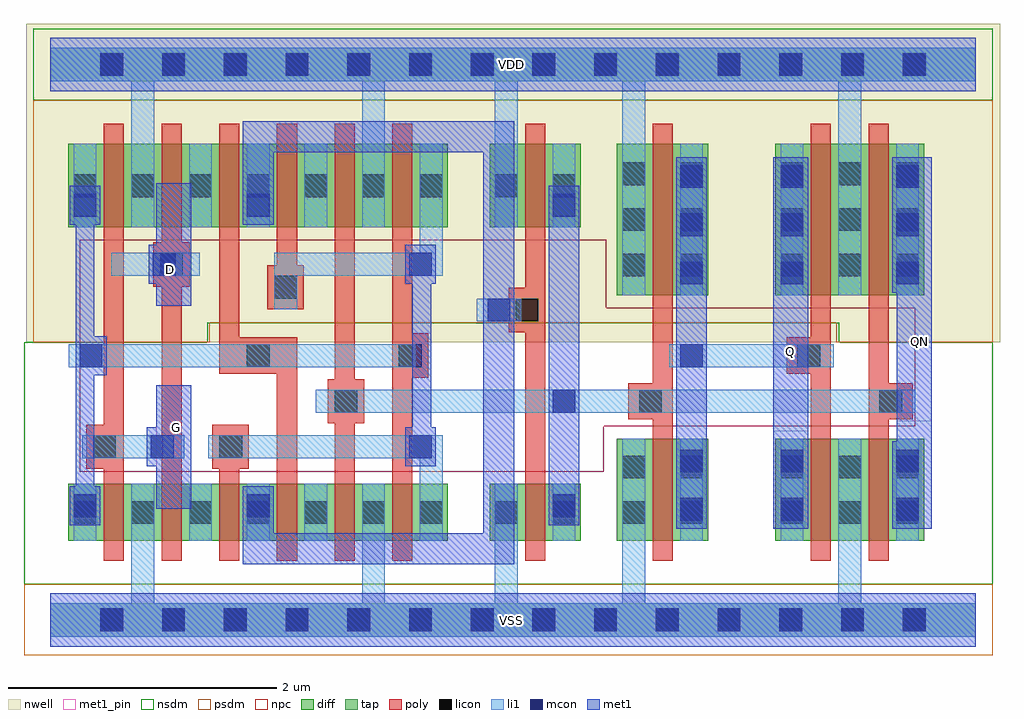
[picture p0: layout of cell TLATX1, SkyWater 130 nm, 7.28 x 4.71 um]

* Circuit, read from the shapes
.subckt TLATX1 D G Q QN VDD VSS
XM1 VSS G n1 VSS sky130_fd_pr__nfet_01v8 w=0.425 l=0.15
XM2 n2 D VSS VSS sky130_fd_pr__nfet_01v8 w=0.425 l=0.15
XM3 n3 n4 n2 VSS sky130_fd_pr__nfet_01v8 w=0.425 l=0.15
XM4 n5 n1 n3 VSS sky130_fd_pr__nfet_01v8 w=0.425 l=0.15
XM5 VSS n6 n5 VSS sky130_fd_pr__nfet_01v8 w=0.425 l=0.15
XM6 n4 n1 VSS VSS sky130_fd_pr__nfet_01v8 w=0.425 l=0.15
XM7 n6 n3 VSS VSS sky130_fd_pr__nfet_01v8 w=0.425 l=0.15
XM8 n7 n6 VSS VSS sky130_fd_pr__nfet_01v8 w=0.76 l=0.15
XM9 VSS n7 Q VSS sky130_fd_pr__nfet_01v8 w=0.76 l=0.15
XM10 QN n6 VSS VSS sky130_fd_pr__nfet_01v8 w=0.76 l=0.15
XM11 VDD G n1 VDD sky130_fd_pr__pfet_01v8 w=0.625 l=0.15
XM12 n8 D VDD VDD sky130_fd_pr__pfet_01v8 w=0.625 l=0.15
XM13 n3 n1 n8 VDD sky130_fd_pr__pfet_01v8 w=0.625 l=0.15
XM14 n9 n4 n3 VDD sky130_fd_pr__pfet_01v8 w=0.625 l=0.15
XM15 VDD n6 n9 VDD sky130_fd_pr__pfet_01v8 w=0.625 l=0.15
XM16 n4 n1 VDD VDD sky130_fd_pr__pfet_01v8 w=0.625 l=0.15
XM17 n6 n3 VDD VDD sky130_fd_pr__pfet_01v8 w=0.625 l=0.15
XM18 n7 n6 VDD VDD sky130_fd_pr__pfet_01v8 w=1.13 l=0.15
XM19 VDD n7 Q VDD sky130_fd_pr__pfet_01v8 w=1.13 l=0.15
XM20 QN n6 VDD VDD sky130_fd_pr__pfet_01v8 w=1.13 l=0.15
.ends

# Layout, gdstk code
from math import pi, radians
import gdstk
lib = gdstk.Library(unit=1e-6, precision=1e-09)
def R(c, l, rs):  # rectangles x0, y0, x1, y1
    for r in rs: c.add(gdstk.rectangle(r[:2], r[2:], *l))
def A(c, l, x, y, w, h, nx, ny, dx, dy):  # array of equal rectangles
    R(c, l, [(x+i*dx, y+j*dy, x+i*dx+w, y+j*dy+h) for i in range(nx) for j in range(ny)])
def P(c, l, *ps):  # polygons
    for p in ps: c.add(gdstk.Polygon(p, *l))
nwell = (64, 20)
diff = (65, 20)
tap = (65, 44)
poly = (66, 20)
licon = (66, 44)
li1 = (67, 20)
mcon = (67, 44)
met1_pin = (68, 16)
met1 = (68, 20)
nsdm = (93, 44)
psdm = (94, 20)
npc = (95, 20)

nfet_01v8_cdns_715785618 = lib.new_cell('nfet_01v8_CDNS_715785618200')
R(nfet_01v8_cdns_715785618, diff, [(-0.265,0,0,0.76), (0,0,0.15,0.76), (0.15,0,0.415,0.76)])
R(nfet_01v8_cdns_715785618, poly, [(0,-0.15,0.15,-0.095), (0,-0.095,0.15,0), (0,0,0.15,0.76), (0,0.76,0.15,0.855), (0,0.855,0.15,0.91)])
R(nfet_01v8_cdns_715785618, licon, [(-0.225,0.125,-0.055,0.295), (0.205,0.125,0.375,0.295), (-0.225,0.465,-0.055,0.635), (0.205,0.465,0.375,0.635)])
R(nfet_01v8_cdns_715785618, li1, [(-0.225,0,-0.055,0.76), (0.205,0,0.375,0.76)])
R(nfet_01v8_cdns_715785618, nsdm, [(-0.405,-0.13,0.555,0.89)])

c_nfet_01v8_cdns_715785618 = lib.new_cell('nfet_01v8_CDNS_715785618201')
R(c_nfet_01v8_cdns_715785618, diff, [(-0.265,0,0,0.425), (0,0,0.15,0.425), (0.15,0,0.415,0.425)])
R(c_nfet_01v8_cdns_715785618, poly, [(0,-0.15,0.15,-0.095), (0,-0.095,0.15,0), (0,0,0.15,0.425), (0,0.425,0.15,0.52), (0,0.52,0.15,0.575)])
R(c_nfet_01v8_cdns_715785618, licon, [(-0.225,0.125,-0.055,0.295), (0.205,0.125,0.375,0.295)])
R(c_nfet_01v8_cdns_715785618, li1, [(-0.225,0,-0.055,0.425), (0.205,0,0.375,0.425)])
R(c_nfet_01v8_cdns_715785618, nsdm, [(-0.405,-0.13,0.555,0.555)])

pfet_01v8_cdns_715785618 = lib.new_cell('pfet_01v8_CDNS_715785618202')
R(pfet_01v8_cdns_715785618, nwell, [(-0.445,-0.18,0.595,1.31)])
R(pfet_01v8_cdns_715785618, diff, [(-0.265,0,0,1.13), (0,0,0.15,1.13), (0.15,0,0.415,1.13)])
R(pfet_01v8_cdns_715785618, poly, [(0,-0.15,0.15,-0.095), (0,-0.095,0.15,0), (0,0,0.15,1.13), (0,1.13,0.15,1.225), (0,1.225,0.15,1.28)])
A(pfet_01v8_cdns_715785618, licon, -0.225, 0.14, 0.17, 0.17, 1, 3, 0, 0.34)
A(pfet_01v8_cdns_715785618, licon, 0.205, 0.14, 0.17, 0.17, 1, 3, 0, 0.34)
R(pfet_01v8_cdns_715785618, li1, [(-0.225,0,-0.055,1.13), (0.205,0,0.375,1.13)])
R(pfet_01v8_cdns_715785618, psdm, [(-0.405,-0.13,0.555,1.26)])

c_nfet_01v8_cdns_715785618_ = lib.new_cell('nfet_01v8_CDNS_715785618203')
R(c_nfet_01v8_cdns_715785618_, diff, [(-0.055,0,0,0.76), (0,0,0.15,0.76), (0.15,0,0.415,0.76)])
R(c_nfet_01v8_cdns_715785618_, poly, [(0,-0.15,0.15,-0.095), (0,-0.095,0.15,0), (0,0,0.15,0.76), (0,0.76,0.15,0.855), (0,0.855,0.15,0.91)])
R(c_nfet_01v8_cdns_715785618_, licon, [(0.205,0.125,0.375,0.295), (0.205,0.465,0.375,0.635)])
R(c_nfet_01v8_cdns_715785618_, li1, [(0.205,0,0.375,0.76)])
R(c_nfet_01v8_cdns_715785618_, nsdm, [(-0.065,-0.13,0.555,0.89)])

c_pfet_01v8_cdns_715785618 = lib.new_cell('pfet_01v8_CDNS_715785618204')
R(c_pfet_01v8_cdns_715785618, nwell, [(-0.235,-0.18,0.595,1.31)])
R(c_pfet_01v8_cdns_715785618, diff, [(-0.055,0,0,1.13), (0,0,0.15,1.13), (0.15,0,0.415,1.13)])
R(c_pfet_01v8_cdns_715785618, poly, [(0,-0.15,0.15,-0.095), (0,-0.095,0.15,0), (0,0,0.15,1.13), (0,1.13,0.15,1.225), (0,1.225,0.15,1.28)])
A(c_pfet_01v8_cdns_715785618, licon, 0.205, 0.14, 0.17, 0.17, 1, 3, 0, 0.34)
R(c_pfet_01v8_cdns_715785618, li1, [(0.205,0,0.375,1.13)])
R(c_pfet_01v8_cdns_715785618, psdm, [(-0.065,-0.13,0.555,1.26)])

c_nfet_01v8_cdns_715785618__ = lib.new_cell('nfet_01v8_CDNS_715785618205')
R(c_nfet_01v8_cdns_715785618__, diff, [(-0.265,0,0,0.425), (0,0,0.15,0.425), (0.15,0,0.375,0.425)])
R(c_nfet_01v8_cdns_715785618__, poly, [(0,-0.15,0.15,-0.095), (0,-0.095,0.15,0), (0,0,0.15,0.425), (0,0.425,0.15,0.52), (0,0.52,0.15,0.575)])
R(c_nfet_01v8_cdns_715785618__, licon, [(-0.225,0.125,-0.055,0.295), (0.205,0.125,0.375,0.295)])
R(c_nfet_01v8_cdns_715785618__, li1, [(-0.225,0,-0.055,0.425), (0.205,0,0.375,0.425)])
R(c_nfet_01v8_cdns_715785618__, nsdm, [(-0.405,-0.13,0.385,0.555)])

c_nfet_01v8_cdns_715785618___ = lib.new_cell('nfet_01v8_CDNS_715785618206')
R(c_nfet_01v8_cdns_715785618___, diff, [(-0.225,0,0,0.425), (0,0,0.15,0.425), (0.15,0,0.415,0.425)])
R(c_nfet_01v8_cdns_715785618___, poly, [(0,-0.15,0.15,-0.095), (0,-0.095,0.15,0), (0,0,0.15,0.425), (0,0.425,0.15,0.52), (0,0.52,0.15,0.575)])
R(c_nfet_01v8_cdns_715785618___, licon, [(-0.225,0.125,-0.055,0.295), (0.205,0.125,0.375,0.295)])
R(c_nfet_01v8_cdns_715785618___, li1, [(-0.225,0,-0.055,0.425), (0.205,0,0.375,0.425)])
R(c_nfet_01v8_cdns_715785618___, nsdm, [(-0.235,-0.13,0.555,0.555)])

c_nfet_01v8_cdns_715785618____ = lib.new_cell('nfet_01v8_CDNS_715785618207')
R(c_nfet_01v8_cdns_715785618____, diff, [(-0.225,0,0,0.76), (0,0,0.15,0.76), (0.15,0,0.415,0.76)])
R(c_nfet_01v8_cdns_715785618____, poly, [(0,-0.15,0.15,-0.095), (0,-0.095,0.15,0), (0,0,0.15,0.76), (0,0.76,0.15,0.855), (0,0.855,0.15,0.91)])
R(c_nfet_01v8_cdns_715785618____, licon, [(-0.225,0.125,-0.055,0.295), (0.205,0.125,0.375,0.295), (-0.225,0.465,-0.055,0.635), (0.205,0.465,0.375,0.635)])
R(c_nfet_01v8_cdns_715785618____, li1, [(-0.225,0,-0.055,0.76), (0.205,0,0.375,0.76)])
R(c_nfet_01v8_cdns_715785618____, nsdm, [(-0.235,-0.13,0.555,0.89)])

c_nfet_01v8_cdns_715785618_____ = lib.new_cell('nfet_01v8_CDNS_715785618208')
R(c_nfet_01v8_cdns_715785618_____, diff, [(-0.055,0,0,0.425), (0,0,0.15,0.425), (0.15,0,0.415,0.425)])
R(c_nfet_01v8_cdns_715785618_____, poly, [(0,-0.15,0.15,-0.095), (0,-0.095,0.15,0), (0,0,0.15,0.425), (0,0.425,0.15,0.52), (0,0.52,0.15,0.575)])
R(c_nfet_01v8_cdns_715785618_____, licon, [(0.205,0.125,0.375,0.295)])
R(c_nfet_01v8_cdns_715785618_____, li1, [(0.205,0,0.375,0.425)])
R(c_nfet_01v8_cdns_715785618_____, nsdm, [(-0.065,-0.13,0.555,0.555)])

c_pfet_01v8_cdns_715785618_ = lib.new_cell('pfet_01v8_CDNS_715785618209')
R(c_pfet_01v8_cdns_715785618_, nwell, [(-0.445,-0.18,0.385,0.805)])
R(c_pfet_01v8_cdns_715785618_, diff, [(-0.265,0,0,0.625), (0,0,0.15,0.625), (0.15,0,0.205,0.625)])
R(c_pfet_01v8_cdns_715785618_, poly, [(0,-0.15,0.15,-0.095), (0,-0.095,0.15,0), (0,0,0.15,0.625), (0,0.625,0.15,0.72), (0,0.72,0.15,0.775)])
R(c_pfet_01v8_cdns_715785618_, licon, [(-0.225,0.225,-0.055,0.395)])
R(c_pfet_01v8_cdns_715785618_, li1, [(-0.225,0,-0.055,0.625)])
R(c_pfet_01v8_cdns_715785618_, psdm, [(-0.405,-0.13,0.215,0.755)])

c_pfet_01v8_cdns_715785618__ = lib.new_cell('pfet_01v8_CDNS_7157856182010')
R(c_pfet_01v8_cdns_715785618__, nwell, [(-0.445,-0.18,0.555,0.805)])
R(c_pfet_01v8_cdns_715785618__, diff, [(-0.265,0,0,0.625), (0,0,0.15,0.625), (0.15,0,0.375,0.625)])
R(c_pfet_01v8_cdns_715785618__, poly, [(0,-0.15,0.15,-0.095), (0,-0.095,0.15,0), (0,0,0.15,0.625), (0,0.625,0.15,0.72), (0,0.72,0.15,0.775)])
R(c_pfet_01v8_cdns_715785618__, licon, [(-0.225,0.225,-0.055,0.395), (0.205,0.225,0.375,0.395)])
R(c_pfet_01v8_cdns_715785618__, li1, [(-0.225,0,-0.055,0.625), (0.205,0,0.375,0.625)])
R(c_pfet_01v8_cdns_715785618__, psdm, [(-0.405,-0.13,0.385,0.755)])

c_nfet_01v8_cdns_715785618______ = lib.new_cell('nfet_01v8_CDNS_7157856182011')
R(c_nfet_01v8_cdns_715785618______, diff, [(-0.265,0,0,0.425), (0,0,0.15,0.425), (0.15,0,0.205,0.425)])
R(c_nfet_01v8_cdns_715785618______, poly, [(0,-0.15,0.15,-0.095), (0,-0.095,0.15,0), (0,0,0.15,0.425), (0,0.425,0.15,0.52), (0,0.52,0.15,0.575)])
R(c_nfet_01v8_cdns_715785618______, licon, [(-0.225,0.125,-0.055,0.295)])
R(c_nfet_01v8_cdns_715785618______, li1, [(-0.225,0,-0.055,0.425)])
R(c_nfet_01v8_cdns_715785618______, nsdm, [(-0.405,-0.13,0.215,0.555)])

c_pfet_01v8_cdns_715785618___ = lib.new_cell('pfet_01v8_CDNS_7157856182012')
R(c_pfet_01v8_cdns_715785618___, nwell, [(-0.405,-0.18,0.595,1.31)])
R(c_pfet_01v8_cdns_715785618___, diff, [(-0.225,0,0,1.13), (0,0,0.15,1.13), (0.15,0,0.415,1.13)])
R(c_pfet_01v8_cdns_715785618___, poly, [(0,-0.15,0.15,-0.095), (0,-0.095,0.15,0), (0,0,0.15,1.13), (0,1.13,0.15,1.225), (0,1.225,0.15,1.28)])
A(c_pfet_01v8_cdns_715785618___, licon, -0.225, 0.14, 0.17, 0.17, 1, 3, 0, 0.34)
A(c_pfet_01v8_cdns_715785618___, licon, 0.205, 0.14, 0.17, 0.17, 1, 3, 0, 0.34)
R(c_pfet_01v8_cdns_715785618___, li1, [(-0.225,0,-0.055,1.13), (0.205,0,0.375,1.13)])
R(c_pfet_01v8_cdns_715785618___, psdm, [(-0.235,-0.13,0.555,1.26)])

c_pfet_01v8_cdns_715785618____ = lib.new_cell('pfet_01v8_CDNS_7157856182013')
R(c_pfet_01v8_cdns_715785618____, nwell, [(-0.445,-0.18,0.595,0.805)])
R(c_pfet_01v8_cdns_715785618____, diff, [(-0.265,0,0,0.625), (0,0,0.15,0.625), (0.15,0,0.415,0.625)])
R(c_pfet_01v8_cdns_715785618____, poly, [(0,-0.15,0.15,-0.095), (0,-0.095,0.15,0), (0,0,0.15,0.625), (0,0.625,0.15,0.72), (0,0.72,0.15,0.775)])
R(c_pfet_01v8_cdns_715785618____, licon, [(-0.225,0.225,-0.055,0.395), (0.205,0.225,0.375,0.395)])
R(c_pfet_01v8_cdns_715785618____, li1, [(-0.225,0,-0.055,0.625), (0.205,0,0.375,0.625)])
R(c_pfet_01v8_cdns_715785618____, psdm, [(-0.405,-0.13,0.555,0.755)])

pyl1con_c_cdns_715785618 = lib.new_cell('PYL1CON_C_CDNS_715785618200')
R(pyl1con_c_cdns_715785618, poly, [(-0.135,-0.165,0.135,0.165)])
R(pyl1con_c_cdns_715785618, licon, [(-0.085,-0.085,0.085,0.085)])
R(pyl1con_c_cdns_715785618, npc, [(-0.185,-0.185,0.185,0.185)])

c_pyl1con_c_cdns_715785618 = lib.new_cell('PYL1CON_C_CDNS_715785618201')
R(c_pyl1con_c_cdns_715785618, poly, [(-0.135,-0.29,0.135,0.29)])
R(c_pyl1con_c_cdns_715785618, licon, [(-0.085,-0.085,0.085,0.085)])
R(c_pyl1con_c_cdns_715785618, npc, [(-0.185,-0.185,0.185,0.185)])

l1m1_c_cdns_715785618202 = lib.new_cell('L1M1_C_CDNS_715785618202')
R(l1m1_c_cdns_715785618202, li1, [(-0.085,-0.165,0.085,0.165)])
R(l1m1_c_cdns_715785618202, mcon, [(-0.085,-0.085,0.085,0.085)])
R(l1m1_c_cdns_715785618202, met1, [(-0.115,-0.145,0.115,0.145)])

l1m1_c_cdns_715785618203 = lib.new_cell('L1M1_C_CDNS_715785618203')
R(l1m1_c_cdns_715785618203, li1, [(-0.165,-0.085,0.165,0.085)])
R(l1m1_c_cdns_715785618203, mcon, [(-0.085,-0.085,0.085,0.085)])
R(l1m1_c_cdns_715785618203, met1, [(-0.115,-0.145,0.115,0.145)])

l1m1_c_cdns_715785618204 = lib.new_cell('L1M1_C_CDNS_715785618204')
R(l1m1_c_cdns_715785618204, li1, [(-0.085,-0.525,0.085,0.525)])
A(l1m1_c_cdns_715785618204, mcon, -0.085, -0.445, 0.17, 0.17, 1, 3, 0, 0.36)
R(l1m1_c_cdns_715785618204, met1, [(-0.115,-0.505,0.115,0.505)])

l1m1_c_cdns_715785618205 = lib.new_cell('L1M1_C_CDNS_715785618205')
R(l1m1_c_cdns_715785618205, li1, [(-0.085,-0.345,0.085,0.345)])
R(l1m1_c_cdns_715785618205, mcon, [(-0.085,-0.265,0.085,-0.095), (-0.085,0.095,0.085,0.265)])
R(l1m1_c_cdns_715785618205, met1, [(-0.115,-0.325,0.115,0.325)])

tlatx1 = lib.new_cell('TLATX1')
R(tlatx1, nwell, [(-0.18,2.07,7.08,4.445), (-0.18,3.875,7.08,4.445)])
A(tlatx1, licon, 0.375, -0.085, 0.17, 0.17, 14, 2, 0.46, 4.14)
R(tlatx1, li1, [(1.67,2.315,1.84,2.735)])
A(tlatx1, mcon, 0.375, -0.085, 0.17, 0.17, 14, 2, 0.46, 4.14)
R(tlatx1, met1_pin, [(0.79,0.83,1.05,1.75), (5.39,1.405,5.65,3.445), (6.31,1.48,6.57,3.45), (0.79,2.34,1.05,3.255)])
R(tlatx1, nsdm, [(-0.125,3.875,7.025,4.405), (-0.125,3.93,7.025,4.35)])
P(tlatx1, nsdm, [(7.025,2.07),(5.88,2.07),(5.88,2.215),(1.17,2.215),(1.17,2.07),(-0.195,2.07),(-0.195,0.265),(7.025,0.265)])
R(tlatx1, psdm, [(-0.195,-0.265,7.025,0.265), (-0.195,-0.21,7.025,0.21)])
P(tlatx1, psdm, [(7.025,3.875),(-0.125,3.875),(-0.125,2.07),(1.19,2.07),(1.19,2.215),(5.86,2.215),(5.86,2.07),(7.025,2.07)])
P(tlatx1, npc, [(6.45,2.325),(4.145,2.325),(4.145,2.835),(0.22,2.835),(0.22,1.105),(4.125,1.105),(4.125,1.445),(6.45,1.445)])
tlatx1.add(gdstk.FlexPath([(1.335,1.97),(1.335,2.83)], 0.15, ends=(0.075, 0), simple_path=True, layer=66, datatype=20))  # poly
tlatx1.add(gdstk.FlexPath([(1.335,1.97),(1.765,1.97)], 0.15, ends="extended", simple_path=True, layer=66, datatype=20))  # poly
tlatx1.add(gdstk.FlexPath([(1.765,1.97),(1.765,1.11)], 0.15, ends=(0.075, 0), simple_path=True, layer=66, datatype=20))  # poly
tlatx1.add(gdstk.FlexPath([(2.625,1.165),(2.625,2.775)], 0.15, ends="flush", simple_path=True, layer=66, datatype=20))  # poly
tlatx1.add(gdstk.FlexPath([(0.905,1.11),(0.905,2.83)], 0.15, ends="flush", simple_path=True, layer=66, datatype=20))  # poly
tlatx1.add(gdstk.FlexPath([(3.615,1.11),(3.615,2.83)], 0.15, ends="flush", simple_path=True, layer=66, datatype=20))  # poly
tlatx1.add(gdstk.FlexPath([(0.475,2.83),(0.475,1.11)], 0.15, ends="flush", simple_path=True, layer=66, datatype=20))  # poly
tlatx1.add(gdstk.FlexPath([(1.765,2.775),(1.765,2.51)], 0.15, ends="flush", simple_path=True, layer=66, datatype=20))  # poly
tlatx1.add(gdstk.FlexPath([(2.195,2.83),(2.195,1.11)], 0.15, ends="flush", simple_path=True, layer=66, datatype=20))  # poly
tlatx1.add(gdstk.FlexPath([(6.175,1.445),(6.175,2.325)], 0.15, ends="flush", simple_path=True, layer=66, datatype=20))  # poly
tlatx1.add(gdstk.FlexPath([(5.745,1.445),(5.745,2.325)], 0.15, ends="flush", simple_path=True, layer=66, datatype=20))  # poly
tlatx1.add(gdstk.FlexPath([(4.565,2.27),(4.565,1.5)], 0.15, ends="flush", simple_path=True, layer=66, datatype=20))  # poly
tlatx1.add(gdstk.FlexPath([(1.67,2.65),(2.79,2.65)], 0.17, ends="flush", simple_path=True, layer=67, datatype=20))  # li1
tlatx1.add(gdstk.FlexPath([(3.4,2.925),(3.4,4.14)], 0.17, ends=(0, 0.125), simple_path=True, layer=67, datatype=20))  # li1
tlatx1.add(gdstk.FlexPath([(0,4.14),(6.9,4.14)], 0.25, ends="flush", simple_path=True, layer=67, datatype=20))  # li1
tlatx1.add(gdstk.FlexPath([(2.84,2.925),(2.84,2.65)], 0.17, ends="flush", simple_path=True, layer=67, datatype=20))  # li1
tlatx1.add(gdstk.FlexPath([(3.4,1.015),(3.4,0)], 0.17, ends=(0, 0.125), simple_path=True, layer=67, datatype=20))  # li1
tlatx1.add(gdstk.FlexPath([(2.41,1.015),(2.41,0)], 0.17, ends=(0, 0.125), simple_path=True, layer=67, datatype=20))  # li1
tlatx1.add(gdstk.FlexPath([(3.995,1.63),(1.98,1.63)], 0.17, ends="flush", simple_path=True, layer=67, datatype=20))  # li1
tlatx1.add(gdstk.FlexPath([(1.18,1.29),(2.825,1.29)], 0.17, ends="flush", simple_path=True, layer=67, datatype=20))  # li1
tlatx1.add(gdstk.FlexPath([(3.83,1.63),(4.73,1.63)], 0.17, ends="flush", simple_path=True, layer=67, datatype=20))  # li1
tlatx1.add(gdstk.FlexPath([(0,0),(6.9,0)], 0.25, ends="flush", simple_path=True, layer=67, datatype=20))  # li1
tlatx1.add(gdstk.FlexPath([(0.19,1.97),(2.635,1.97)], 0.17, ends=(0, 0.085), simple_path=True, layer=67, datatype=20))  # li1
tlatx1.add(gdstk.FlexPath([(2.41,2.925),(2.41,4.14)], 0.17, ends=(0, 0.125), simple_path=True, layer=67, datatype=20))  # li1
tlatx1.add(gdstk.FlexPath([(0.455,2.65),(1.115,2.65)], 0.17, ends="flush", simple_path=True, layer=67, datatype=20))  # li1
tlatx1.add(gdstk.FlexPath([(0.24,1.29),(0.785,1.29)], 0.17, ends="flush", simple_path=True, layer=67, datatype=20))  # li1
tlatx1.add(gdstk.FlexPath([(0.69,1.015),(0.69,0)], 0.17, ends=(0, 0.125), simple_path=True, layer=67, datatype=20))  # li1
tlatx1.add(gdstk.FlexPath([(0.69,2.925),(0.69,4.14)], 0.17, ends=(0, 0.125), simple_path=True, layer=67, datatype=20))  # li1
tlatx1.add(gdstk.FlexPath([(4.79,1.97),(5.84,1.97)], 0.17, ends="flush", simple_path=True, layer=67, datatype=20))  # li1
tlatx1.add(gdstk.FlexPath([(2.84,1.015),(2.84,1.29)], 0.17, ends="flush", simple_path=True, layer=67, datatype=20))  # li1
tlatx1.add(gdstk.FlexPath([(4.615,1.63),(6.45,1.63)], 0.17, ends="flush", simple_path=True, layer=67, datatype=20))  # li1
tlatx1.add(gdstk.FlexPath([(4.35,2.925),(4.35,4.14)], 0.17, ends=(0, 0.125), simple_path=True, layer=67, datatype=20))  # li1
tlatx1.add(gdstk.FlexPath([(5.96,2.925),(5.96,4.14)], 0.17, ends=(0, 0.125), simple_path=True, layer=67, datatype=20))  # li1
tlatx1.add(gdstk.FlexPath([(4.35,1.015),(4.35,0)], 0.17, ends=(0, 0.125), simple_path=True, layer=67, datatype=20))  # li1
tlatx1.add(gdstk.FlexPath([(5.96,1.015),(5.96,0)], 0.17, ends=(0, 0.125), simple_path=True, layer=67, datatype=20))  # li1
tlatx1.add(gdstk.FlexPath([(2.635,1.97),(2.635,1.975)], 0.17, ends=(0.085, 0), simple_path=True, layer=67, datatype=20))  # li1
tlatx1.add(gdstk.FlexPath([(0,4.14),(6.9,4.14)], 0.25, ends="flush", simple_path=True, layer=65, datatype=44))  # tap
tlatx1.add(gdstk.FlexPath([(0,0),(6.9,0)], 0.25, ends="flush", simple_path=True, layer=65, datatype=44))  # tap
tlatx1.add(gdstk.FlexPath([(3.345,3.6),(3.345,0.53)], 0.23, ends="extended", simple_path=True, layer=68, datatype=20))  # met1
tlatx1.add(gdstk.FlexPath([(3.345,0.53),(1.55,0.53)], 0.23, ends="extended", simple_path=True, layer=68, datatype=20))  # met1
tlatx1.add(gdstk.FlexPath([(1.55,0.53),(1.55,0.85)], 0.23, ends=(0.115, 0), simple_path=True, layer=68, datatype=20))  # met1
tlatx1.add(gdstk.FlexPath([(2.77,2.72),(2.77,1.225)], 0.14, ends="flush", simple_path=True, layer=68, datatype=20))  # met1
tlatx1.add(gdstk.FlexPath([(0,4.14),(6.9,4.14)], 0.4, ends="flush", simple_path=True, layer=68, datatype=20))  # met1
tlatx1.add(gdstk.FlexPath([(3.83,0.705),(3.83,3.235)], 0.23, ends="flush", simple_path=True, layer=68, datatype=20))  # met1
tlatx1.add(gdstk.FlexPath([(0.92,2.34),(0.92,3.255)], 0.26, ends="flush", simple_path=True, layer=68, datatype=20))  # met1
tlatx1.add(gdstk.FlexPath([(0.26,0.705),(0.26,3.235)], 0.14, ends="flush", simple_path=True, layer=68, datatype=20))  # met1
tlatx1.add(gdstk.FlexPath([(1.55,3.09),(1.55,3.6)], 0.23, ends=(0, 0.115), simple_path=True, layer=68, datatype=20))  # met1
tlatx1.add(gdstk.FlexPath([(0.92,0.83),(0.92,1.75)], 0.26, ends="flush", simple_path=True, layer=68, datatype=20))  # met1
tlatx1.add(gdstk.FlexPath([(5.52,0.68),(5.52,3.45)], 0.26, ends="flush", simple_path=True, layer=68, datatype=20))  # met1
tlatx1.add(gdstk.FlexPath([(6.44,0.68),(6.44,3.45)], 0.26, ends="flush", simple_path=True, layer=68, datatype=20))  # met1
tlatx1.add(gdstk.FlexPath([(4.78,0.68),(4.78,3.45)], 0.23, ends="flush", simple_path=True, layer=68, datatype=20))  # met1
tlatx1.add(gdstk.FlexPath([(0,0),(6.9,0)], 0.4, ends="flush", simple_path=True, layer=68, datatype=20))  # met1
tlatx1.add(gdstk.FlexPath([(1.55,3.6),(3.345,3.6)], 0.23, ends="extended", simple_path=True, layer=68, datatype=20))  # met1
tlatx1.add(gdstk.FlexPath([(0,4.14),(6.9,4.14)], 0.4, ends="flush", simple_path=True, layer=68, datatype=16))  # met1_pin
tlatx1.add(gdstk.FlexPath([(0,0),(6.9,0)], 0.4, ends="flush", simple_path=True, layer=68, datatype=16))  # met1_pin
tlatx1.add(gdstk.Reference(nfet_01v8_cdns_715785618, (4.49,0.59)))
tlatx1.add(gdstk.Reference(c_nfet_01v8_cdns_715785618, (3.54,0.59)))
tlatx1.add(gdstk.Reference(pfet_01v8_cdns_715785618, (4.49,2.42)))
tlatx1.add(gdstk.Reference(c_nfet_01v8_cdns_715785618_, (6.1,0.59)))
tlatx1.add(gdstk.Reference(c_pfet_01v8_cdns_715785618, (6.1,2.42)))
tlatx1.add(gdstk.Reference(c_nfet_01v8_cdns_715785618__, (1.26,0.59)))
tlatx1.add(gdstk.Reference(c_nfet_01v8_cdns_715785618___, (2.27,0.59), rotation=pi, x_reflection=True))
tlatx1.add(gdstk.Reference(c_nfet_01v8_cdns_715785618___, (0.83,0.59)))
tlatx1.add(gdstk.Reference(c_nfet_01v8_cdns_715785618____, (5.82,0.59), rotation=pi, x_reflection=True))
tlatx1.add(gdstk.Reference(c_nfet_01v8_cdns_715785618_____, (2.55,0.59)))
tlatx1.add(gdstk.Reference(c_nfet_01v8_cdns_715785618_____, (0.55,0.59), rotation=pi, x_reflection=True))
tlatx1.add(gdstk.Reference(c_pfet_01v8_cdns_715785618_, (1.84,2.925), rotation=pi, x_reflection=True))
tlatx1.add(gdstk.Reference(c_pfet_01v8_cdns_715785618__, (1.26,2.925)))
tlatx1.add(gdstk.Reference(c_nfet_01v8_cdns_715785618______, (1.84,0.59), rotation=pi, x_reflection=True))
tlatx1.add(gdstk.Reference(c_pfet_01v8_cdns_715785618___, (5.82,2.42), rotation=pi, x_reflection=True))
tlatx1.add(gdstk.Reference(c_pfet_01v8_cdns_715785618____, (3.54,2.925)))
tlatx1.add(gdstk.Reference(c_pfet_01v8_cdns_715785618____, (2.55,2.925)))
tlatx1.add(gdstk.Reference(c_pfet_01v8_cdns_715785618____, (2.27,2.925), rotation=pi, x_reflection=True))
tlatx1.add(gdstk.Reference(c_pfet_01v8_cdns_715785618____, (0.83,2.925)))
tlatx1.add(gdstk.Reference(c_pfet_01v8_cdns_715785618____, (0.55,2.925), rotation=pi, x_reflection=True))
tlatx1.add(gdstk.Reference(pyl1con_c_cdns_715785618, (4.475,1.63), rotation=pi/2, x_reflection=True))
tlatx1.add(gdstk.Reference(pyl1con_c_cdns_715785618, (2.685,1.97)))
tlatx1.add(gdstk.Reference(pyl1con_c_cdns_715785618, (1.345,1.29), x_reflection=True))
tlatx1.add(gdstk.Reference(pyl1con_c_cdns_715785618, (6.265,1.63), rotation=pi/2, x_reflection=True))
tlatx1.add(gdstk.Reference(pyl1con_c_cdns_715785618, (5.655,1.97), rotation=pi/2, x_reflection=True))
tlatx1.add(gdstk.Reference(pyl1con_c_cdns_715785618, (1.755,2.48), rotation=pi))
tlatx1.add(gdstk.Reference(pyl1con_c_cdns_715785618, (0.905,2.65), x_reflection=True))
tlatx1.add(gdstk.Reference(pyl1con_c_cdns_715785618, (0.405,1.29), rotation=pi))
tlatx1.add(gdstk.Reference(pyl1con_c_cdns_715785618, (3.555,2.31), x_reflection=True))
tlatx1.add(gdstk.Reference(pyl1con_c_cdns_715785618, (2.205,1.63), rotation=pi))
tlatx1.add(gdstk.Reference(c_pyl1con_c_cdns_715785618, (1.55,1.97), rotation=pi/2, x_reflection=True))
tlatx1.add(gdstk.Reference(l1m1_c_cdns_715785618202, (1.55,3.09), rotation=pi, x_reflection=True))
tlatx1.add(gdstk.Reference(l1m1_c_cdns_715785618202, (1.55,0.85), rotation=pi, x_reflection=True))
tlatx1.add(gdstk.Reference(l1m1_c_cdns_715785618202, (3.83,0.85), rotation=pi, x_reflection=True))
tlatx1.add(gdstk.Reference(l1m1_c_cdns_715785618202, (3.83,3.09), rotation=pi, x_reflection=True))
tlatx1.add(gdstk.Reference(l1m1_c_cdns_715785618202, (0.26,0.85), rotation=pi, x_reflection=True))
tlatx1.add(gdstk.Reference(l1m1_c_cdns_715785618202, (0.26,3.09), rotation=pi, x_reflection=True))
tlatx1.add(gdstk.Reference(l1m1_c_cdns_715785618203, (2.76,2.65)))
tlatx1.add(gdstk.Reference(l1m1_c_cdns_715785618203, (3.83,1.63)))
tlatx1.add(gdstk.Reference(l1m1_c_cdns_715785618203, (0.85,2.65), x_reflection=True))
tlatx1.add(gdstk.Reference(l1m1_c_cdns_715785618203, (2.76,1.29)))
tlatx1.add(gdstk.Reference(l1m1_c_cdns_715785618203, (0.835,1.29), x_reflection=True))
tlatx1.add(gdstk.Reference(l1m1_c_cdns_715785618203, (0.305,1.97), rotation=pi, x_reflection=True))
tlatx1.add(gdstk.Reference(l1m1_c_cdns_715785618203, (3.345,2.31)))
tlatx1.add(gdstk.Reference(l1m1_c_cdns_715785618203, (4.78,1.97), x_reflection=True))
tlatx1.add(gdstk.Reference(l1m1_c_cdns_715785618204, (5.53,2.945)))
tlatx1.add(gdstk.Reference(l1m1_c_cdns_715785618204, (6.39,2.945)))
tlatx1.add(gdstk.Reference(l1m1_c_cdns_715785618204, (4.78,2.945)))
tlatx1.add(gdstk.Reference(l1m1_c_cdns_715785618205, (5.53,1.005)))
tlatx1.add(gdstk.Reference(l1m1_c_cdns_715785618205, (6.39,1.005)))
tlatx1.add(gdstk.Reference(l1m1_c_cdns_715785618205, (4.78,1.005)))
tlatx1.add(gdstk.Label('VDD', (3.44,4.14), layer=68, texttype=16))
tlatx1.add(gdstk.Label('VSS', (3.44,-0.005), layer=68, texttype=16))
tlatx1.add(gdstk.Label('G', (0.942,1.434), layer=68, texttype=16))
tlatx1.add(gdstk.Label('Q', (5.522,1.999), layer=68, texttype=16))
tlatx1.add(gdstk.Label('QN', (6.482,2.074), layer=68, texttype=16))
tlatx1.add(gdstk.Label('D', (0.895,2.61), layer=68, texttype=16))

lib.write_gds('TLATX1.gds')
